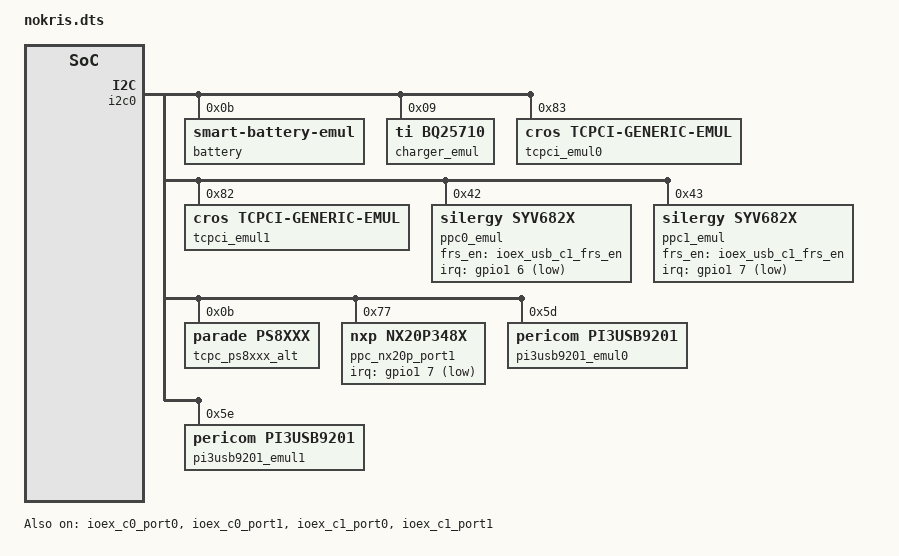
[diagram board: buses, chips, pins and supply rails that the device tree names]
#include <dt-bindings/pwm/pwm.h>
#include <dt-bindings/usb_pd_tcpm.h>

#include "../program/nissa/nokris/cbi.dtsi"

/ {

	named-i2c-ports {
		i2c_ec_i2c_batt: ec_i2c_batt {
			i2c-port = <&i2c_ctrl7>;
			enum-names = "I2C_PORT_BATTERY";
		};

		i2c_ec_i2c_sensor: ec_i2c_sensor {
			i2c-port = <&i2c_ctrl1>;
			enum-names = "I2C_PORT_SENSOR";
		};
	};

	named-gpios {
		compatible = "named-gpios";

		gpio_usb_c0_ppc_int_odl: usb_c0_ppc_int_odl {
			gpios = <&gpio1 6 (GPIO_INPUT | GPIO_ACTIVE_LOW)>;
			enum-name = "GPIO_USB_C0_PPC_INT_ODL";
		};
		gpio_usb_c1_ppc_int_odl: usb_c1_ppc_int_odl {
			gpios = <&gpio1 7 (GPIO_INPUT | GPIO_ACTIVE_LOW)>;
			enum-name = "GPIO_USB_C1_PPC_INT_ODL";
		};
		gpio_usb_c1_rt_3p3_sx_en: usb_c1_rt_3p3_sx_en {
			gpios = <&gpio1 8 0>;
		};
		ioex_usb_c1_rt_rst_ls_l: usb_c1_rt_rst_ls_l {
			gpios = <&gpio1 9 0>;
		};
		ioex_usb_c1_frs_en: usb_c1_frs_en {
			gpios = <&gpio1 10 0>;
		};
		gpio_usb_c0_rt_3p3_sx_en: usb_c0_rt_3p3_sx_en {
			gpios = <&gpio1 11 GPIO_ODR_LOW>;
		};
		gpio_usb_c0_rt_int_odl: usb_c0_rt_int_odl {
			gpios = <&gpio1 12 GPIO_INPUT>;
		};
		ioex_usb_c0_rt_rst_ls_l: usb_c0_rt_rst_ls_l {
			gpios = <&gpio1 13 0>;
		};
		gpio_ec_pwr_btn_odl: ec_pwr_btn_odl {
			gpios = <&gpio1 14 GPIO_INPUT>;
			enum-name = "GPIO_POWER_BUTTON_L";
		};
		gpio_usb_c0_bc12_int_odl: usb_c0_bc12_int_odl {
			gpios = <&gpio1 15 GPIO_INPUT>;
			enum-name = "GPIO_USB_C0_BC12_INT_ODL";
		};
		gpio_usb_c1_bc12_int_odl: usb_c1_bc12_int_odl {
			gpios = <&gpio1 16 GPIO_INPUT>;
			enum-name = "GPIO_USB_C1_BC12_INT_ODL";
		};
	};

	ioex_c0_port0: gpio@1100 {
		status = "okay";
		compatible = "zephyr,gpio-emul";
		reg = <0x1100 0x4>;
		rising-edge;
		falling-edge;
		high-level;
		low-level;
		gpio-controller;
		#gpio-cells = <2>;
		ngpios = <8>;
	};

	ioex_c0_port1: gpio@1200 {
		status = "okay";
		compatible = "zephyr,gpio-emul";
		reg = <0x1200 0x4>;
		rising-edge;
		falling-edge;
		high-level;
		low-level;
		gpio-controller;
		#gpio-cells = <2>;
		ngpios = <8>;
	};

	ioex_c1_port0: gpio@1300 {
		status = "okay";
		compatible = "zephyr,gpio-emul";
		reg = <0x1300 0x4>;
		rising-edge;
		falling-edge;
		high-level;
		low-level;
		gpio-controller;
		#gpio-cells = <2>;
		ngpios = <8>;
	};

	ioex_c1_port1: gpio@1400 {
		status = "okay";
		compatible = "zephyr,gpio-emul";
		reg = <0x1400 0x4>;
		rising-edge;
		falling-edge;
		high-level;
		low-level;
		gpio-controller;
		#gpio-cells = <2>;
		ngpios = <8>;
	};

	usbc {
		#address-cells = <1>;
		#size-cells = <0>;

		port0@0 {
			compatible = "named-usbc-port";
			reg = <0>;
			bc12 = <&pi3usb9201_emul0>;
			chg = <&charger_emul>;
			tcpc = <&tcpci_emul0>;
			ppc = <&ppc0_emul>;
			usb-mux-chain-0 {
				compatible = "cros-ec,usb-mux-chain";
				usb-muxes = <&virtual_mux_0>;
			};
		};
		port0-muxes {
			virtual_mux_0: virtual-mux-0 {
				compatible = "cros-ec,usbc-mux-virtual";
			};
		};
		/*
		 * TODO(b:211693800): port1 may not be present on some
		 * sub-boards.
		 */
		port1@1 {
			compatible = "named-usbc-port";
			reg = <1>;
			bc12 = <&pi3usb9201_emul1>;
			tcpc = <&tcpci_emul1>;
			ppc = <&ppc1_emul>;
			usb-mux-chain-1 {
				compatible = "cros-ec,usb-mux-chain";
				usb-muxes = <&virtual_mux_1 &tcpci_mux_1>;
			};
		};
		port1-muxes {
			virtual_mux_1: virtual-mux-1 {
				compatible = "cros-ec,usbc-mux-virtual";
			};
			tcpci_mux_1: tcpci-mux-1 {
				compatible = "parade,usbc-mux-ps8xxx";
			};
		};
	};

	batteries {
		default_battery: lgc {
			compatible = "lgc,ap18c8k", "battery-smart";
		};
	};
};

&i2c0 {
	status = "okay";

	battery: sb@b {
		compatible = "zephyr,smart-battery-emul";
		status = "okay";
		reg = <0xb>;
		cycle-count = <99>;
		version = "BATTERY_SPEC_VER_1_1_WITH_PEC";
		/* Real battery voltages are multiples of 4.4V. */
		desired-charg-volt = <5000>;
		desired-charg-cur = <1000>;
		mf-name = "LGC";
		dev-name = "AC17A8M";
	};

	charger_emul: bq25710@9 {
		compatible = "ti,bq25710";
		status = "okay";
		reg = <0x9>;
	};

	tcpci_emul0: tcpci_emul@83 {
		compatible = "cros,tcpci-generic-emul";
		status = "okay";
		reg = <0x83>;
	};

	tcpci_emul1: tcpci_emul@82 {
		compatible = "cros,tcpci-generic-emul";
		status = "okay";
		reg = <0x82>;
	};

	ppc0_emul: syv682x@42 {
		compatible = "silergy,syv682x", "cros,i2c-mock";
		status = "okay";
		reg = <0x42>;
		frs_en_gpio = <&ioex_usb_c1_frs_en>;
		irq-gpios = <&gpio1 6 GPIO_ACTIVE_LOW>;
	};

	ppc1_emul: syv682x@43 {
		compatible = "silergy,syv682x", "cros,i2c-mock";
		status = "okay";
		reg = <0x43>;
		frs_en_gpio = <&ioex_usb_c1_frs_en>;
		irq-gpios = <&gpio1 7 GPIO_ACTIVE_LOW>;
	};

	tcpc_ps8xxx_alt: tcpc-ps8xxx-alt@b {
		compatible = "parade,ps8xxx", "cros,i2c-mock";
		reg = < 0xb >;
		tcpc-flags = < 0xd8 >;
		is-alt;
	};

	ppc_nx20p_port1: nx20p348x@77 {
		compatible = "nxp,nx20p348x";
		status = "okay";
		reg = <0x77>;
		irq-gpios = <&gpio1 7 GPIO_ACTIVE_LOW>;
		is-alt;
	};

	pi3usb9201_emul0: pi3usb9201@5d {
		compatible = "pericom,pi3usb9201";
		status = "okay";
		reg = <0x5d>;
	};

	pi3usb9201_emul1: pi3usb9201@5e {
		compatible = "pericom,pi3usb9201";
		status = "okay";
		reg = <0x5e>;
	};
};

